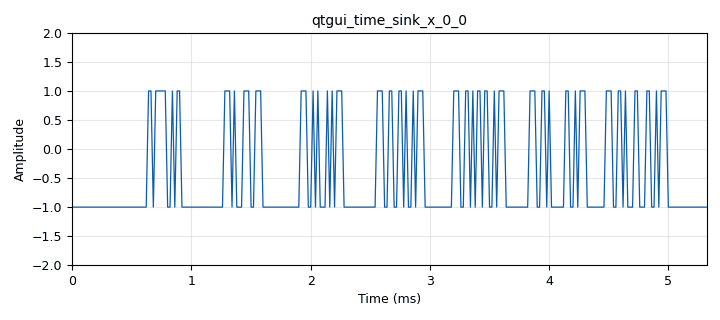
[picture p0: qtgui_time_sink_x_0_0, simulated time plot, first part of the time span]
options:
  parameters:
    category: Custom
    generate_options: qt_gui
    id: fecapi_async_decoders
    output_language: python
  states: {}

blocks:
- name: dec_cc
  id: variable_cc_decoder_def
  parameters:
    dim1: '1'
    framebits: '8000'
    k: k
    mode: fec.CC_TERMINATED
    ndim: '1'
    padding: 'True'
    polys: polys
    rate: rate
    state_end: '-1'
    state_start: '0'
  states: {}
- name: dec_dummy
  id: variable_dummy_decoder_def
  parameters:
    dim1: '1'
    framebits: '8000'
    ndim: '1'
  states: {}
- name: dec_rep
  id: variable_repetition_decoder_def
  parameters:
    dim1: '1'
    framebits: '8000'
    ndim: '1'
    prob: '0.5'
    rep: '3'
  states: {}
- name: enc_cc
  id: variable_cc_encoder_def
  parameters:
    framebits: '8000'
    k: k
    mode: fec.CC_TERMINATED
    ndim: '0'
    padding: 'True'
    polys: polys
    rate: rate
    state_start: '0'
  states: {}
- name: enc_dummy
  id: variable_dummy_encoder_def
  parameters:
    framebits: '8000'
    ndim: '0'
  states: {}
- name: enc_rep
  id: variable_repetition_encoder_def
  parameters:
    dim1: '1'
    framebits: '8000'
    ndim: '1'
    rep: '3'
  states: {}
- name: k
  id: variable
  parameters:
    value: '7'
  states: {}
- name: polys
  id: variable
  parameters:
    value: '[109, 79]'
  states: {}
- name: rate
  id: variable
  parameters:
    value: '2'
  states: {}
- name: samp_rate
  id: variable
  parameters:
    value: '50000'
  states: {}
- name: analog_random_source_x_0
  id: analog_random_source_x
  parameters:
    max: '256'
    min: '0'
    num_samps: '1000'
    repeat: 'True'
    type: byte
  states: {state: disabled}
- name: blocks_char_to_float_0_0_0_0
  id: blocks_char_to_float
  parameters:
    scale: '1'
  states: {}
- name: blocks_char_to_float_0_1
  id: blocks_char_to_float
  parameters:
    scale: '1'
  states: {}
- name: blocks_ctrlport_monitor_performance_0
  id: blocks_ctrlport_monitor_performance
  parameters:
    en: 'True'
  states: {state: disabled}
- name: blocks_pdu_to_tagged_stream_0
  id: blocks_pdu_to_tagged_stream
  parameters:
    tag: pkt_len
    type: byte
  states: {}
- name: blocks_repack_bits_bb_0
  id: blocks_repack_bits_bb
  parameters:
    endianness: gr.GR_LSB_FIRST
    k: '8'
    l: '1'
    len_tag_key: pkt_len
  states: {}
- name: blocks_repack_bits_bb_0_0
  id: blocks_repack_bits_bb
  parameters:
    endianness: gr.GR_LSB_FIRST
    k: '1'
    l: '8'
    len_tag_key: pkt_len
  states: {}
- name: blocks_stream_to_tagged_stream_0_0
  id: blocks_stream_to_tagged_stream
  parameters:
    len_tag_key: pkt_len
    packet_len: frame_size
    type: byte
  states: {}
- name: blocks_tagged_stream_to_pdu_0
  id: blocks_tagged_stream_to_pdu
  parameters:
    tag: pkt_len
    type: byte
  states: {}
- name: blocks_throttle_0
  id: blocks_throttle
  parameters:
    samples_per_second: samp_rate
    type: byte
  states: {}
- name: blocks_vector_source_x_0_1_0
  id: blocks_vector_source_x
  parameters:
    repeat: 'True'
    type: byte
    vector: (frame_size//15)*[0, 0, 1, 0, 3, 0, 7, 0, 15, 0, 31, 0, 63, 0, 127]
  states: {}
- name: digital_crc32_async_bb_0
  id: digital_crc32_async_bb
  parameters:
    check: 'False'
  states: {}
- name: digital_crc32_bb_0
  id: digital_crc32_bb
  parameters:
    check: 'True'
    lengthtagname: pkt_len
    packed: 'True'
  states: {}
- name: digital_map_bb_0
  id: digital_map_bb
  parameters:
    map: '[-1,1]'
  states: {}
- name: fec_async_encoder_0
  id: fec_async_encoder
  parameters:
    encoder: enc_cc
    mtu: '1500'
    packed: 'True'
  states: {}
- name: fec_extended_tagged_decoder_0
  id: fec_extended_tagged_decoder
  parameters:
    decoder_list: dec_cc
    lentagname: pkt_len
    mtu: '1500'
    puncpat: puncpat
  states: {}
- name: frame_size
  id: parameter
  parameters:
    label: Frame Size
    type: intx
    value: '30'
  states: {}
- name: puncpat
  id: parameter
  parameters:
    value: '''11'''
  states: {}
- name: qtgui_time_sink_x_0
  id: qtgui_time_sink_x
  parameters:
    color1: '"blue"'
    label1: Input
    legend: 'False'
    size: '512'
    srate: samp_rate
    type: float
    update_time: '0.01'
    ymax: '140'
  states: {}
- name: qtgui_time_sink_x_0_0
  id: qtgui_time_sink_x
  parameters:
    color1: '"blue"'
    label1: Input
    legend: 'False'
    size: '5120'
    srate: samp_rate
    type: float
    update_time: '0.01'
    ymax: '2'
    ymin: '-2'
  states: {}

connections:
- [analog_random_source_x_0, '0', blocks_throttle_0, '0']
- [blocks_char_to_float_0_0_0_0, '0', qtgui_time_sink_x_0, '0']
- [blocks_char_to_float_0_1, '0', fec_extended_tagged_decoder_0, '0']
- [blocks_char_to_float_0_1, '0', qtgui_time_sink_x_0_0, '0']
- [blocks_pdu_to_tagged_stream_0, '0', blocks_repack_bits_bb_0, '0']
- [blocks_repack_bits_bb_0, '0', digital_map_bb_0, '0']
- [blocks_repack_bits_bb_0_0, '0', digital_crc32_bb_0, '0']
- [blocks_stream_to_tagged_stream_0_0, '0', blocks_tagged_stream_to_pdu_0, '0']
- [blocks_tagged_stream_to_pdu_0, pdus, digital_crc32_async_bb_0, in]
- [blocks_throttle_0, '0', blocks_stream_to_tagged_stream_0_0, '0']
- [blocks_vector_source_x_0_1_0, '0', blocks_throttle_0, '0']
- [digital_crc32_async_bb_0, out, fec_async_encoder_0, in]
- [digital_crc32_bb_0, '0', blocks_char_to_float_0_0_0_0, '0']
- [digital_map_bb_0, '0', blocks_char_to_float_0_1, '0']
- [fec_async_encoder_0, out, blocks_pdu_to_tagged_stream_0, pdus]
- [fec_extended_tagged_decoder_0, '0', blocks_repack_bits_bb_0_0, '0']

metadata:
  file_format: 1
